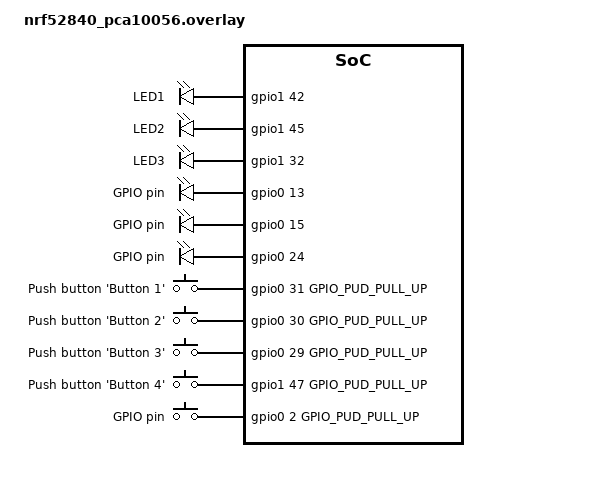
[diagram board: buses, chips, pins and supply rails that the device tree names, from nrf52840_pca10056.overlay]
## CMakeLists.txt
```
# SPDX-License-Identifier: Apache-2.0

cmake_minimum_required(VERSION 3.13.1)
add_compile_definitions(NRFX_GPIOTE_CONFIG_NUM_OF_LOW_POWER_EVENTS=3)
include($ENV{ZEPHYR_BASE}/../nrf/cmake/boilerplate.cmake)
include($ENV{ZEPHYR_BASE}/cmake/app/boilerplate.cmake NO_POLICY_SCOPE)
project(nerf)

FILE(GLOB app_sources src/*.c)
target_sources(app PRIVATE ${app_sources})
```

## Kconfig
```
menu "neRF"
config NERF_SAFETY_FEATURES_ENABLED
	bool "Safety features enabled"
	default y
	help
	  Shut down if jam door is open or drum is not detected.

endmenu

menu "Zephyr Kernel"
source "$ZEPHYR_BASE/Kconfig.zephyr"
endmenu
```

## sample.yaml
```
sample:
  name: neRF Sample
tests:
  test:
    tags: LED gpio
    filter: dt_compat_enabled_with_alias("gpio-leds", "led0")
    depends_on: gpio
    harness: led
```

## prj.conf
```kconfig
CONFIG_TIMESLICING=n
CONFIG_SYSTEM_WORKQUEUE_STACK_SIZE=2048

CONFIG_GPIO=n
CONFIG_NRFX_GPIOTE=y
CONFIG_NFCT_PINS_AS_GPIOS=y

CONFIG_SYS_POWER_MANAGEMENT=y
CONFIG_SYS_POWER_DEEP_SLEEP_STATES=y
CONFIG_SYS_PM_STATE_LOCK=y

# NOTE: If log is enabled when using the dongle then console over USB must also be enabled.
CONFIG_LOG=n
CONFIG_LOG_PROCESS_THREAD_SLEEP_MS=100

CONFIG_ASSERT=y
CONFIG_HW_STACK_PROTECTION=y

CONFIG_BT=y
CONFIG_BT_PERIPHERAL=y
CONFIG_BT_DEVICE_NAME="neRF"
CONFIG_BT_GATT_NERF=y
CONFIG_BT_CTLR_TX_PWR_PLUS_8=y

# Enable bonding
CONFIG_BT_SETTINGS=y
CONFIG_FLASH=y
CONFIG_FLASH_PAGE_LAYOUT=y
CONFIG_FLASH_MAP=y
CONFIG_NVS=y
CONFIG_SETTINGS=y

CONFIG_NERF_SAFETY_FEATURES_ENABLED=y
CONFIG_DEBUG=n
```

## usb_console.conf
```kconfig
# Enable console over USB
CONFIG_USB=y
CONFIG_USB_DEVICE_STACK=y
CONFIG_USB_DEVICE_PRODUCT="Zephyr USB console sample"
CONFIG_USB_UART_CONSOLE=y

CONFIG_UART_INTERRUPT_DRIVEN=y
CONFIG_UART_LINE_CTRL=y
CONFIG_UART_CONSOLE_ON_DEV_NAME="CDC_ACM_0"

CONFIG_USB_UART_DTR_WAIT=y
```

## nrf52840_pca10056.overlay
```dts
/ {
    leds {
      compatible = "gpio-leds";
      /* NOTE: Each GPIO port has 32 pins, [0, 31], so pin numbers >= 32 are gpio1. */
      led0: led_0 {
        gpios = <&gpio1 42 0>;
        label = "LED1";
      };
      led1: led_1 {
        gpios = <&gpio1 45 0>;
        label = "LED2";
      };
      led2: led_2 {
        gpios = <&gpio1 32 0>;
        label = "LED3";
      };
      motor0: motor_0 {
        gpios = <&gpio0 13 0>;
        label = "GPIO pin";
      };
      motor1: motor_1 {
        gpios = <&gpio0 15 0>;
        label = "GPIO pin";
      };
      motor2: motor_2 {
        gpios = <&gpio0 24 0>;
        label = "GPIO pin";
      };
    };

    buttons {
      button0: button_0 {
        gpios = <&gpio0 31 GPIO_PUD_PULL_UP>;
        label = "Push button 'Button 1'";
      };
      button1: button_1 {
        gpios = <&gpio0 30 GPIO_PUD_PULL_UP>;
        label = "Push button 'Button 2'";
      };
      button2: button_2 {
        gpios = <&gpio0 29 GPIO_PUD_PULL_UP>;
        label = "Push button 'Button 3'";
      };
      button3: button_3 {
        gpios = <&gpio1 47 GPIO_PUD_PULL_UP>;
        label = "Push button 'Button 4'";
      };
      button4: button_4 {
        gpios = <&gpio0 2 GPIO_PUD_PULL_UP>;
        label = "GPIO pin";
      };
    };

    aliases {
      led-r-en = &led0;
      led-g-en = &led1;
      led-b-en = &led2;
      rev-trig-sw = &button0;
      plunger-trig-sw = &button1;
      plunger-sw = &button2;
      drum-detect-sw = &button3;
      jam-door-sw = &button4;
      rev-en = &motor0;
      plunger-en = &motor1;
      vibe-en = &motor2;
    };
};

/* Increase the priority of the GPIOTE interrupt. */
&gpiote {
  interrupts = <6 0>;
};
```

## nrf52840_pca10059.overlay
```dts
/ {
    leds {
      compatible = "gpio-leds";
      /* NOTE: Each GPIO port has 32 pins, [0, 31], so pin numbers >= 32 are gpio1. */
      led0: led_0 {
        gpios = <&gpio1 42 0>;
        label = "LED1";
      };
      led1: led_1 {
        gpios = <&gpio1 45 0>;
        label = "LED2";
      };
      led2: led_2 {
        gpios = <&gpio1 47 0>;
        label = "LED3";
      };
      motor0: motor_0 {
        gpios = <&gpio0 2 0>;
        label = "GPIO pin";
      };
      motor1: motor_1 {
        gpios = <&gpio0 29 0>;
        label = "GPIO pin";
      };
      motor2: motor_2 {
        gpios = <&gpio0 31 0>;
        label = "GPIO pin";
      };
    };

    buttons {
      button0: button_0 {
        gpios = <&gpio0 22 GPIO_PUD_PULL_UP>;
        label = "Push button 'Button 1'";
      };
      button1: button_1 {
        gpios = <&gpio0 10 GPIO_PUD_PULL_UP>;
        label = "Push button 'Button 2'";
      };
      button2: button_2 {
        gpios = <&gpio0 13 GPIO_PUD_PULL_UP>;
        label = "Push button 'Button 3'";
      };
      button3: button_3 {
        gpios = <&gpio1 32 GPIO_PUD_PULL_UP>;
        label = "Push button 'Button 4'";
      };
      button4: button_4 {
        gpios = <&gpio0 20 GPIO_PUD_PULL_UP>;
        label = "GPIO pin";
      };
    };

    aliases {
      led-r-en = &led0;
      led-g-en = &led1;
      led-b-en = &led2;
      rev-trig-sw = &button0;
      plunger-trig-sw = &button1;
      plunger-sw = &button2;
      drum-detect-sw = &button3;
      jam-door-sw = &button4;
      plunger-en = &motor0;
      vibe-en = &motor1;
      rev-en = &motor2;
    };
};

/* Increase the priority of the GPIOTE interrupt. */
&gpiote {
  interrupts = <6 0>;
};
```

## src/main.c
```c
/*
 * Copyright (c) 2020 Daniel Veilleux
 *
 * SPDX-License-Identifier: Apache-2.0
 */

#include <zephyr.h>
#include <power/power.h>
#include <zephyr/types.h>
#include <stddef.h>
#include <string.h>
#include <errno.h>
#include <sys/printk.h>
#include <sys/byteorder.h>
#include <soc.h>

#include <bluetooth/bluetooth.h>
#include <bluetooth/hci.h>
#include <bluetooth/conn.h>
#include <bluetooth/uuid.h>
#include <bluetooth/gatt.h>

#include <nrfx_gpiote.h>
#include <settings/settings.h>
#include <logging/log.h>
LOG_MODULE_REGISTER(main, LOG_LEVEL_DBG);

#include <bluetooth/services/nerf.h>

#define DEVICE_NAME                 CONFIG_BT_DEVICE_NAME
#define DEVICE_NAME_LEN             (sizeof(DEVICE_NAME) - 1)

#define DART_COUNT_MAX              24
#define DART_COUNT_UNKNOWN          0xFF
#define HAPTIC_DURATION_VALUE_MIN   16
#define HAPTIC_DURATION_VALUE_MAX   200 
#define BURST_DART_COUNT            3
#define REV_SPIN_UP_MS              1000
#define SWITCH_DEBOUNCE_MS          5

#define PLUNGER_IDLE_SPIN_MS        250
#define PLUNGER_PUSH_MS             125
#define PLUNGER_REBOUND_MS          30
#define PLUNGER_RESET_MS            25
#define PLUNGER_MARGIN_MS           100

#define LED_ERROR_BLINK_DELAY_MS    200

#define SYSTEM_OFF_DELAY_M          10
#define SYSTEM_OFF_ERR_DELAY_S      30

/* Convenience macros for working with different GPIO levels */
#define LED_ON_SET(pin)     (nrf_gpio_pin_set(pin))
#define LED_OFF_SET(pin)    (nrf_gpio_pin_clear(pin))
#define MOTOR_ON_SET(pin)   (nrf_gpio_pin_set(pin))
#define MOTOR_OFF_SET(pin)  (nrf_gpio_pin_clear(pin))
#define SW_ACTIVE_LOW(pin)  (!nrf_gpio_pin_read(pin))
#define SW_ACTIVE_HIGH(pin) (nrf_gpio_pin_read(pin))


typedef enum
{
    FIRING_MODE_SEMI,  /* One shot per plunger trigger press */
    FIRING_MODE_BURST, /* Three shots per plunger trigger press */
    FIRING_MODE_FULL,  /* Continuous shots while plunger trigger is pressed */
    FIRING_MODE_COUNT
} firing_mode_t;

static void rev_timer_expire(struct k_timer *timer_id);
static void debounce_timer_expire(struct k_timer *timer_id);
static void plunger_release(void);
static void sleep_timer_expire(struct k_timer *timer_id);
static void haptic_timer_expire(struct k_timer *timer_id);

/* These variables are only used when the blaster has a BT connection. */
static firing_mode_t   m_firing_mode                = FIRING_MODE_FULL;
static uint8_t         m_dart_count                 = DART_COUNT_UNKNOWN;
static bool            m_rev_trigger_overridden     = false;
static bool            m_plunger_trigger_overridden = false;
static bool            m_triggers_locked_out        = false;
static struct bt_conn *m_bt_conn                    = NULL;

static volatile bool m_revved = false;
static          bool m_firing = false;

static volatile bool m_rev_trig_sw      = false;
static volatile bool m_plunger_trig_sw  = false;
static volatile bool m_plunger_sw       = false;
static volatile bool m_sleep_mode_enter = false;

static const struct bt_data ad[] = {
    BT_DATA_BYTES(BT_DATA_FLAGS, (BT_LE_AD_GENERAL | BT_LE_AD_NO_BREDR)),
    BT_DATA(BT_DATA_NAME_COMPLETE, DEVICE_NAME, DEVICE_NAME_LEN),
};

static const struct bt_data sd[] = {
    BT_DATA_BYTES(BT_DATA_UUID128_ALL, NERF_UUID_SERVICE),
};

/* Use the system workqueue to send notifications from a timer ISR. */
static struct haptic_notification_ctx {
    struct k_work work;
    uint8_t       duration_remaining;
} m_haptic_notification_ctx;

K_MUTEX_DEFINE(m_dart_count_mutex);
K_SEM_DEFINE(m_dart_sem, 0, DART_COUNT_MAX);
K_SEM_DEFINE(m_plunger_sem, 0, 1);
K_TIMER_DEFINE(m_rev_timer, rev_timer_expire, NULL);
K_TIMER_DEFINE(m_rev_trig_debounce_timer, debounce_timer_expire, NULL);
K_TIMER_DEFINE(m_plunger_trig_debounce_timer, debounce_timer_expire, NULL);
K_TIMER_DEFINE(m_plunger_debounce_timer, debounce_timer_expire, NULL);
K_TIMER_DEFINE(m_sleep_timer, sleep_timer_expire, NULL);
K_TIMER_DEFINE(m_haptic_timer, haptic_timer_expire, NULL);


static void rev_trigger_override(bool override)
{
    m_rev_trigger_overridden = override;
    debounce_timer_expire(&m_rev_trig_debounce_timer);
    LOG_DBG("%d", override);
}


static void plunger_trigger_override(bool override)
{
    m_plunger_trigger_overridden = override;
    debounce_timer_expire(&m_plunger_trig_debounce_timer);
    LOG_DBG("%d", override);
}


static void bt_connected(struct bt_conn *conn, u8_t err)
{
    if (err) {
        LOG_ERR("bt_conn_cb.connected error (%u)", err);
        return;
    }

    LOG_DBG("Connected");

    k_timer_stop(&m_sleep_timer);

    m_bt_conn = bt_conn_ref(conn);
    LED_ON_SET(DT_ALIAS_LED_B_EN_GPIOS_PIN);
}


static void bt_disconnected(struct bt_conn *conn, u8_t reason)
{
    LOG_DBG("Disconnected (reason %u)", reason);

    k_timer_start(&m_sleep_timer, K_MINUTES(SYSTEM_OFF_DELAY_M), 0);

    if (m_bt_conn) {
        bt_conn_unref(m_bt_conn);
        m_bt_conn = NULL;
    }
    LED_OFF_SET(DT_ALIAS_LED_B_EN_GPIOS_PIN);

    /* Without a BT connection it doesn't make sense to track the dart count. */
    k_mutex_lock(&m_dart_count_mutex, K_FOREVER);
    m_dart_count = DART_COUNT_UNKNOWN;
    k_mutex_unlock(&m_dart_count_mutex);

    m_triggers_locked_out = false;

    if (m_rev_trigger_overridden) {
        rev_trigger_override(false);
    }

    if (m_plunger_trigger_overridden) {
        plunger_trigger_override(false);
    }
}


static void dart_count_set_cb(uint8_t darts_remaining)
{
    if ((DART_COUNT_MAX >= darts_remaining) || (DART_COUNT_UNKNOWN == darts_remaining)) {
        k_mutex_lock(&m_dart_count_mutex, K_FOREVER);
        m_dart_count = darts_remaining;
        k_mutex_unlock(&m_dart_count_mutex);
        LOG_DBG("%d", darts_remaining);
    } else {
        LOG_DBG("Invalid dart count: %d", darts_remaining);
    }
}


static uint8_t dart_count_get_cb(void)
{
    uint8_t darts_remaining;
    k_mutex_lock(&m_dart_count_mutex, K_FOREVER);
    darts_remaining = m_dart_count;
    k_mutex_unlock(&m_dart_count_mutex);
    return darts_remaining;
}


static void selective_fire_mode_set_cb(uint8_t mode)
{
    if (FIRING_MODE_COUNT > mode) {
        m_firing_mode = mode;
        LOG_DBG("%d", mode);
    } else {
        LOG_DBG("Invalid firing mode: %d", mode);
    }
}


static uint8_t selective_fire_mode_get_cb(void)
{
    return m_firing_mode;
}


static void rev_trigger_override_set_cb(bool override)
{
    if (override != m_rev_trigger_overridden) {
        rev_trigger_override(override);
    }
}


static bool rev_trigger_override_get_cb(void)
{
    return m_rev_trigger_overridden;
}


static void plunger_trigger_override_set_cb(bool override)
{
    if (override != m_plunger_trigger_overridden) {
        plunger_trigger_override(override);
    }
}


static bool plunger_trigger_override_get_cb(void)
{
    return m_plunger_trigger_overridden;
}


static void triggers_lockout_set_cb(bool lockout)
{
    if (m_triggers_locked_out != lockout) {
        m_triggers_locked_out = lockout;
        if (m_triggers_locked_out) {
            debounce_timer_expire(&m_plunger_trig_debounce_timer);
            debounce_timer_expire(&m_rev_trig_debounce_timer);
            LOG_DBG("Triggers locked out.");
        } else {
            LOG_DBG("Triggers no longer locked out.");
        }
    }
}


static bool triggers_lockout_get_cb(void)
{
    return m_triggers_locked_out;
}


static void haptic_feedback_set_cb(uint8_t duration_10ms)
{
    int duration;

    if ((HAPTIC_DURATION_VALUE_MIN > duration_10ms)||(HAPTIC_DURATION_VALUE_MAX < duration_10ms)) {
        LOG_DBG("Invalid duration: %d", duration_10ms);
        return;
    }

    duration = (10 * duration_10ms);

    k_timer_start(&m_haptic_timer, K_MSEC(duration), 0);
    MOTOR_ON_SET(DT_ALIAS_VIBE_EN_GPIOS_PIN);

    LOG_DBG("%dms", duration);
}


static struct bt_gatt_nerf_cb nerf_callbacks = {
    .dart_count_set_cb                  = dart_count_set_cb,
    .dart_count_get_cb                  = dart_count_get_cb,
    .selective_fire_mode_set_cb         = selective_fire_mode_set_cb,
    .selective_fire_mode_get_cb         = selective_fire_mode_get_cb,
    .rev_trigger_override_set_cb        = rev_trigger_override_set_cb,
    .rev_trigger_override_get_cb        = rev_trigger_override_get_cb,
    .plunger_trigger_override_set_cb    = plunger_trigger_override_set_cb,
    .plunger_trigger_override_get_cb    = plunger_trigger_override_get_cb,
    .triggers_lockout_set_cb            = triggers_lockout_set_cb,
    .triggers_lockout_get_cb            = triggers_lockout_get_cb,
    .haptic_feedback_set_cb             = haptic_feedback_set_cb,
};


static struct bt_conn_cb conn_callbacks = {
    .connected    = bt_connected,
    .disconnected = bt_disconnected,
};


/*
 * Turn off LEDs and motors if an error occurs or to prepare for sleep.
 */
static void outputs_disable(void)
{
    MOTOR_OFF_SET(DT_ALIAS_REV_EN_GPIOS_PIN);
    MOTOR_OFF_SET(DT_ALIAS_VIBE_EN_GPIOS_PIN);
    MOTOR_OFF_SET(DT_ALIAS_PLUNGER_EN_GPIOS_PIN);
    LED_OFF_SET(DT_ALIAS_LED_R_EN_GPIOS_PIN);
    LED_OFF_SET(DT_ALIAS_LED_G_EN_GPIOS_PIN);
    LED_OFF_SET(DT_ALIAS_LED_B_EN_GPIOS_PIN);
}


static void haptic_feedback_notification_send(struct k_work *item)
{
    struct haptic_notification_ctx *p_ctx;

    p_ctx = CONTAINER_OF(item, struct haptic_notification_ctx, work);
    if (m_bt_conn) {
        int err = bt_gatt_nerf_hf_notify(p_ctx->duration_remaining);
        if (err && (-EACCES != err)) {
            LOG_ERR("bt_gatt_nerf_hf_notify error (%d)", err);
        }
    }
}


static void haptic_timer_expire(struct k_timer *timer_id)
{
    MOTOR_OFF_SET(DT_ALIAS_VIBE_EN_GPIOS_PIN);

    /* Use the system workqueue to call into the BT stack. */
    m_haptic_notification_ctx.duration_remaining = 0;
    k_work_submit(&m_haptic_notification_ctx.work);
}


/*
 * Expire m_sleep_timer if no triggers are pressed for SYSTEM_OFF_DELAY_M minutes.
 */
static void sleep_timer_expire(struct k_timer *timer_id)
{
    /* Set the flag to enable sleep mode and release the main thread. */
    m_sleep_mode_enter = true;
    k_sem_give(&m_dart_sem);
}


/**
 * Put the nRF52840 in its deepest sleep state.
 *
 * NOTE: sys_pm_force_power_state can't be called from an ISR so this function
 *       is called from main.
 */
static void system_off_enter(void)
{
    outputs_disable();
    nrf_gpio_cfg_sense_set(DT_ALIAS_REV_TRIG_SW_GPIOS_PIN, NRF_GPIO_PIN_SENSE_LOW);
    sys_pm_force_power_state(SYS_POWER_STATE_DEEP_SLEEP_1);
    k_sleep(K_MSEC(1));

    LOG_ERR("System off failed");
    while (1) {
        LED_ON_SET(DT_ALIAS_LED_B_EN_GPIOS_PIN);
        k_sleep(LED_ERROR_BLINK_DELAY_MS);
        LED_OFF_SET(DT_ALIAS_LED_B_EN_GPIOS_PIN);
        k_sleep(LED_ERROR_BLINK_DELAY_MS);
    }
}


/*
 * Sample switch levels after they have had time to settle.
 */
static void debounce_timer_expire(struct k_timer *timer_id)
{
    bool new_state;

    if (timer_id == &m_plunger_debounce_timer) {
        new_state = SW_ACTIVE_LOW(DT_ALIAS_PLUNGER_SW_GPIOS_PIN);
        if (new_state == m_plunger_sw) {
            return;
        }
        m_plunger_sw = new_state;
        k_sem_give(&m_plunger_sem);
    } else if (timer_id == &m_rev_trig_debounce_timer) {
        if (!m_triggers_locked_out && !m_rev_trigger_overridden) {
            new_state = SW_ACTIVE_LOW(DT_ALIAS_REV_TRIG_SW_GPIOS_PIN);
        } else {
            new_state = m_rev_trigger_overridden;
        }
        if (new_state == m_rev_trig_sw) {
            return;
        }
        m_rev_trig_sw = new_state;
        if (m_rev_trig_sw) {
            if (!m_firing) {
                MOTOR_ON_SET(DT_ALIAS_REV_EN_GPIOS_PIN);
            }
            k_timer_start(&m_rev_timer, K_MSEC(REV_SPIN_UP_MS), 0);
            LOG_DBG("Revving...");
        } else {
            m_revved = false;
            if (!m_firing) {
                MOTOR_OFF_SET(DT_ALIAS_REV_EN_GPIOS_PIN);
                LED_OFF_SET(DT_ALIAS_LED_G_EN_GPIOS_PIN);
            }
            k_timer_stop(&m_rev_timer);
            LOG_DBG("Rev trigger released");
        }
    } else if (timer_id == &m_plunger_trig_debounce_timer) {
        if (!m_triggers_locked_out && !m_plunger_trigger_overridden) {
            new_state = SW_ACTIVE_LOW(DT_ALIAS_PLUNGER_TRIG_SW_GPIOS_PIN);
        } else {
            new_state = m_plunger_trigger_overridden;
        }
        if (new_state == m_plunger_trig_sw) {
            return;
        }
        m_plunger_trig_sw = new_state;
        if (m_plunger_trig_sw) {
            LOG_DBG("Plunger trigger pressed");
            if (m_revved) {
                plunger_release();
            }
        } else {
            LOG_DBG("Plunger trigger released");
            if (FIRING_MODE_FULL == m_firing_mode) {
                k_sem_reset(&m_dart_sem);
            }
        }
    }
}


/*
 * Allow the wheels that propel the dart to spin up to speed before allowing darts to be fired.
 */
static void rev_timer_expire(struct k_timer *timer_id)
{
    LOG_DBG("Ready to fire");
    m_revved = true;
    LED_ON_SET(DT_ALIAS_LED_G_EN_GPIOS_PIN);

    if (m_plunger_trig_sw) {
        plunger_release();
    }
}


/*
 * Begin debouncing important switches and reset the sleep timer (when there is no BT connection).
 */
static void switch_handle(nrfx_gpiote_pin_t pin, nrf_gpiote_polarity_t action)
{
    if (NULL == m_bt_conn) {
        k_timer_start(&m_sleep_timer, K_MINUTES(SYSTEM_OFF_DELAY_M), 0);
    }

    switch (pin) {
        case DT_ALIAS_REV_TRIG_SW_GPIOS_PIN:
            if (!m_triggers_locked_out && !m_rev_trigger_overridden) {
                k_timer_start(&m_rev_trig_debounce_timer, K_MSEC(SWITCH_DEBOUNCE_MS), 0);
            }
            break;
        case DT_ALIAS_PLUNGER_TRIG_SW_GPIOS_PIN:
            if (!m_triggers_locked_out && !m_plunger_trigger_overridden) {
                k_timer_start(&m_plunger_trig_debounce_timer, K_MSEC(SWITCH_DEBOUNCE_MS), 0);
            }
            break;
        case DT_ALIAS_PLUNGER_SW_GPIOS_PIN:
            k_timer_start(&m_plunger_debounce_timer, K_MSEC(SWITCH_DEBOUNCE_MS), 0);
            break;
        default:
            break;
    }
}


/*
 * Give the semaphore once for every dart that is ready to be fired. This semaphore releases
 * the main thread so it can begin firing.
 */
static void plunger_release(void)
{
    int count=0;

    if (m_firing) {
        return;
    }

    k_sem_reset(&m_dart_sem);

    switch (m_firing_mode) {
    case FIRING_MODE_SEMI:
        count = MIN(1, m_dart_count);
        break;
    case FIRING_MODE_BURST:
        count = MIN(BURST_DART_COUNT, m_dart_count);
        break;
    case FIRING_MODE_FULL:
        count = MIN(DART_COUNT_MAX, m_dart_count);
        break;
    default:
        break;
    }

    for (int i=0; i < count; i++) {
        k_sem_give(&m_dart_sem);
    }
}


/*
 * Initialize the switches and enable an interrupt handler to process them.
 */
static int switches_init(void)
{
    nrfx_err_t err;

    IRQ_CONNECT(DT_NORDIC_NRF_GPIOTE_GPIOTE_0_IRQ_0,
                    DT_NORDIC_NRF_GPIOTE_GPIOTE_0_IRQ_0_PRIORITY,
                    nrfx_isr,
                    nrfx_gpiote_irq_handler,
                    0);

    /* NOTE: The interrupt priority passed as the parameter here is ignored,
     *       per nrfx_glue.h, because it is set via IRQ_CONNECT.
     */
    err = nrfx_gpiote_init(0);
    if (NRFX_SUCCESS != err) {
        return err;
    }

    nrfx_gpiote_in_config_t const in_config = {
        .sense = NRF_GPIOTE_POLARITY_TOGGLE,
        .pull = NRF_GPIO_PIN_PULLUP,
        .is_watcher = false,
        .hi_accuracy = false,
        .skip_gpio_setup = false,
    };

    err = nrfx_gpiote_in_init(DT_ALIAS_PLUNGER_TRIG_SW_GPIOS_PIN, &in_config, switch_handle);
    if (NRFX_SUCCESS != err) {
        return err;
    }

    err = nrfx_gpiote_in_init(DT_ALIAS_REV_TRIG_SW_GPIOS_PIN, &in_config, switch_handle);
    if (NRFX_SUCCESS != err) {
        return err;
    }

    err = nrfx_gpiote_in_init(DT_ALIAS_PLUNGER_SW_GPIOS_PIN, &in_config, switch_handle);
    if (NRFX_SUCCESS != err) {
        return err;
    }

#if CONFIG_NERF_SAFETY_FEATURES_ENABLED
    nrf_gpio_cfg_input(DT_ALIAS_DRUM_DETECT_SW_GPIOS_PIN, NRF_GPIO_PIN_PULLUP);
    nrf_gpio_cfg_input(DT_ALIAS_JAM_DOOR_SW_GPIOS_PIN, NRF_GPIO_PIN_PULLUP);
#endif

    /* Note the original position for use later with debouncing. */
    m_rev_trig_sw = SW_ACTIVE_LOW(DT_ALIAS_REV_TRIG_SW_GPIOS_PIN);
    m_plunger_trig_sw = SW_ACTIVE_LOW(DT_ALIAS_PLUNGER_TRIG_SW_GPIOS_PIN);
    m_plunger_sw = SW_ACTIVE_LOW(DT_ALIAS_PLUNGER_SW_GPIOS_PIN);

    nrfx_gpiote_in_event_enable(DT_ALIAS_PLUNGER_TRIG_SW_GPIOS_PIN, true);
    nrfx_gpiote_in_event_enable(DT_ALIAS_REV_TRIG_SW_GPIOS_PIN, true);
    nrfx_gpiote_in_event_enable(DT_ALIAS_PLUNGER_SW_GPIOS_PIN, true);

    return NRFX_SUCCESS;
}


/*
 * Enable the LED and motor outputs and set them to off.
 */
static void outputs_init(void)
{
    LED_OFF_SET(DT_ALIAS_LED_R_EN_GPIOS_PIN);
    nrf_gpio_cfg_output(DT_ALIAS_LED_R_EN_GPIOS_PIN);
 
    LED_OFF_SET(DT_ALIAS_LED_G_EN_GPIOS_PIN);
    nrf_gpio_cfg_output(DT_ALIAS_LED_G_EN_GPIOS_PIN);

    LED_OFF_SET(DT_ALIAS_LED_B_EN_GPIOS_PIN);
    nrf_gpio_cfg_output(DT_ALIAS_LED_B_EN_GPIOS_PIN);

    MOTOR_OFF_SET(DT_ALIAS_REV_EN_GPIOS_PIN);
    nrf_gpio_cfg_output(DT_ALIAS_REV_EN_GPIOS_PIN);

    MOTOR_OFF_SET(DT_ALIAS_PLUNGER_EN_GPIOS_PIN);
    nrf_gpio_cfg_output(DT_ALIAS_PLUNGER_EN_GPIOS_PIN);

    MOTOR_OFF_SET(DT_ALIAS_VIBE_EN_GPIOS_PIN);
    nrf_gpio_cfg_output(DT_ALIAS_VIBE_EN_GPIOS_PIN);
}


/*
 * Initialize the system and manage the dart firing mechanism.
 */
void main(void)
{
    int err;

    k_work_init(&m_haptic_notification_ctx.work, haptic_feedback_notification_send);

    /* Prevent deep sleep (SYSTEMOFF) from being entered on long timeouts. */
    sys_pm_ctrl_disable_state(SYS_POWER_STATE_DEEP_SLEEP_1);
    k_timer_start(&m_sleep_timer, K_MINUTES(SYSTEM_OFF_DELAY_M), 0);

    outputs_init();

    err = switches_init();
    if (NRFX_SUCCESS != err) {
        LOG_ERR("switches_init error (%d)", err);
        goto err_exit;
    }

    bt_conn_cb_register(&conn_callbacks);
    err = bt_enable(NULL);
    if (err) {
        LOG_ERR("bt_enable error (%d)", err);
        goto err_exit;
    }

    if (IS_ENABLED(CONFIG_SETTINGS)) {
        settings_load();
    }

    err = bt_gatt_nerf_init(&nerf_callbacks);
    if (err) {
        LOG_ERR("bt_gatt_nerf_init error (%d)", err);
        goto err_exit;
    }

    err = bt_le_adv_start(BT_LE_ADV_CONN, ad, ARRAY_SIZE(ad), sd, ARRAY_SIZE(sd));
    if (err) {
        LOG_ERR("bt_le_adv_start error (%d)", err);
        goto err_exit;
    }

    LOG_DBG("Mastodon initialization complete");

    while (1) {
        k_sem_take(&m_dart_sem, K_FOREVER);

        if (m_sleep_mode_enter) {
            system_off_enter();
        }

#if CONFIG_NERF_SAFETY_FEATURES_ENABLED
        if (SW_ACTIVE_LOW(DT_ALIAS_JAM_DOOR_SW_GPIOS_PIN)) {
            LOG_ERR("Jam door fault");
            goto err_exit;
        }
    
        if (!SW_ACTIVE_LOW(DT_ALIAS_DRUM_DETECT_SW_GPIOS_PIN)) {
            LOG_ERR("Drum detect fault");
            goto err_exit;
        }
#endif
        m_firing = true;
        LED_ON_SET(DT_ALIAS_LED_R_EN_GPIOS_PIN);

        /* m_plunger_sw should be false when at rest. It will go true when the gear that
         * drives it moves through its idle section and begins to re-engage it. */
        k_sem_reset(&m_plunger_sem);
        MOTOR_ON_SET(DT_ALIAS_PLUNGER_EN_GPIOS_PIN);
        if (0 != k_sem_take(&m_plunger_sem,
                                K_MSEC(PLUNGER_IDLE_SPIN_MS + PLUNGER_MARGIN_MS))) {
            goto err_exit;
        }

        /* Let the plunger run until m_plunger_sw goes false. */
        if (0 != k_sem_take(&m_plunger_sem,
                                K_MSEC(PLUNGER_PUSH_MS + PLUNGER_MARGIN_MS))) {
            goto err_exit;
        }
        MOTOR_OFF_SET(DT_ALIAS_PLUNGER_EN_GPIOS_PIN);

        /* Allow plunger spring to retract the plunger. */
        if (0 != k_sem_take(&m_plunger_sem,
                                K_MSEC(PLUNGER_REBOUND_MS + PLUNGER_MARGIN_MS))) {
            goto err_exit;
        }

        MOTOR_ON_SET(DT_ALIAS_PLUNGER_EN_GPIOS_PIN);
        if (0 != k_sem_take(&m_plunger_sem,
                                K_MSEC(PLUNGER_RESET_MS + PLUNGER_MARGIN_MS))) {
            goto err_exit;
        }
        MOTOR_OFF_SET(DT_ALIAS_PLUNGER_EN_GPIOS_PIN);

        if (!m_rev_trig_sw) {
            MOTOR_OFF_SET(DT_ALIAS_REV_EN_GPIOS_PIN);
            LED_OFF_SET(DT_ALIAS_LED_G_EN_GPIOS_PIN);
        }

        LED_OFF_SET(DT_ALIAS_LED_R_EN_GPIOS_PIN);
        m_firing = false;

        k_mutex_lock(&m_dart_count_mutex, K_FOREVER);
        if (DART_COUNT_UNKNOWN != m_dart_count) {
            if (0 == m_dart_count) {
                m_dart_count = DART_COUNT_UNKNOWN;
            } else {
                m_dart_count--;
            }
        }

        if (m_bt_conn) {
            err = bt_gatt_nerf_dc_notify(m_dart_count);
            if (err && (-EACCES != err)) {
                LOG_ERR("bt_gatt_nerf_dc_notify error (%d)", err);
                k_mutex_unlock(&m_dart_count_mutex);
                goto err_exit;
            }
        }

        if (0 == m_dart_count) {
            if (m_rev_trigger_overridden) {
                rev_trigger_override(false);
                if (m_bt_conn) {
                    err = bt_gatt_nerf_rto_notify(m_rev_trigger_overridden);
                    if (err && (-EACCES != err)) {
                        LOG_ERR("bt_gatt_nerf_rto_notify error (%d)", err);
                        k_mutex_unlock(&m_dart_count_mutex);
                        goto err_exit;
                    }
                }
            }
            if (m_plunger_trigger_overridden) {
                plunger_trigger_override(false);
                if (m_bt_conn) {
                    err = bt_gatt_nerf_pto_notify(m_plunger_trigger_overridden);
                    if (err && (-EACCES != err)) {
                        LOG_ERR("bt_gatt_nerf_pto_notify error (%d)", err);
                        k_mutex_unlock(&m_dart_count_mutex);
                        goto err_exit;
                    }
                }
            }
        } else if (0 == k_sem_count_get(&m_dart_sem)) {
            if (m_plunger_trigger_overridden) {
                plunger_trigger_override(false);
                if (m_bt_conn) {
                    err = bt_gatt_nerf_pto_notify(m_plunger_trigger_overridden);
                    if (err && (-EACCES != err)) {
                        LOG_ERR("bt_gatt_nerf_pto_notify error (%d)", err);
                        k_mutex_unlock(&m_dart_count_mutex);
                        goto err_exit;
                    }
                }
            }
        }

        k_mutex_unlock(&m_dart_count_mutex);
        LOG_DBG("Fired one dart");
    }

err_exit:
    /* Put the system into a safe state. */
    NRFX_IRQ_DISABLE(nrfx_get_irq_number(NRF_GPIOTE));

    if (m_bt_conn) {
        err = bt_conn_disconnect(m_bt_conn, BT_HCI_ERR_REMOTE_USER_TERM_CONN);
        if (err) {
            LOG_ERR("bt_conn_disconnect error (%d)", err);
        }
    } else {
        err = bt_le_adv_stop();
        if (err) {
            LOG_ERR("bt_le_adv_stop error (%d)", err);
        }
    }

    outputs_disable();

    k_timer_start(&m_sleep_timer, K_SECONDS(SYSTEM_OFF_ERR_DELAY_S), 0);

    LOG_ERR("err_exit shutdown");

    while (1) {
        LED_ON_SET(DT_ALIAS_LED_R_EN_GPIOS_PIN);
        k_sleep(LED_ERROR_BLINK_DELAY_MS);
        LED_OFF_SET(DT_ALIAS_LED_R_EN_GPIOS_PIN);
        k_sleep(LED_ERROR_BLINK_DELAY_MS);

        if (m_sleep_mode_enter) {
            system_off_enter();
        }
    }
}
```
